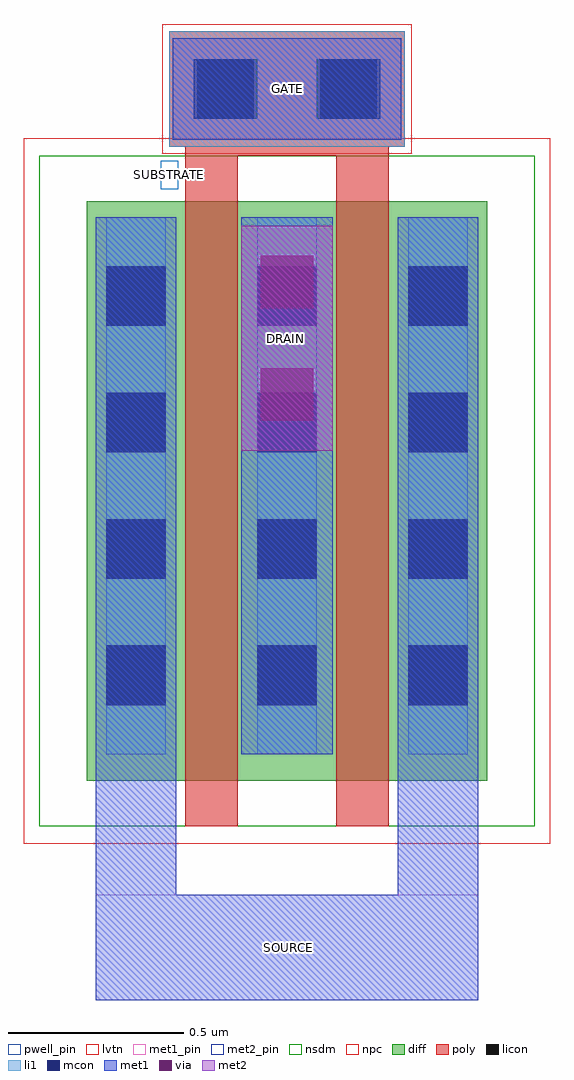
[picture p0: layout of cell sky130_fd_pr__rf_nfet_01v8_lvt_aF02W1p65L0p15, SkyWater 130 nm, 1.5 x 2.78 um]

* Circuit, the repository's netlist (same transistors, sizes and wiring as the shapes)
* Copyright 2020 The SkyWater PDK Authors
*
* Licensed under the Apache License, Version 2.0 (the "License");
* you may not use this file except in compliance with the License.
* You may obtain a copy of the License at
*
*     https://www.apache.org/licenses/LICENSE-2.0
*
* Unless required by applicable law or agreed to in writing, software
* distributed under the License is distributed on an "AS IS" BASIS,
* WITHOUT WARRANTIES OR CONDITIONS OF ANY KIND, either express or implied.
* See the License for the specific language governing permissions and
* limitations under the License.
*
* SPDX-License-Identifier: Apache-2.0


.subckt sky130_fd_pr__rf_nfet_01v8_lvt_aF02W1p65L0p15 DRAIN GATE SOURCE SUBSTRATE
X0 SOURCE GATE DRAIN SUBSTRATE sky130_fd_pr__nfet_01v8_lvt w=1.65e+06u l=150000u
X1 DRAIN GATE SOURCE SUBSTRATE sky130_fd_pr__nfet_01v8_lvt w=1.65e+06u l=150000u
.ends

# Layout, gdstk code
import gdstk
lib = gdstk.Library(unit=1e-6, precision=1e-09)
def R(c, l, rs):  # rectangles x0, y0, x1, y1
    for r in rs: c.add(gdstk.rectangle(r[:2], r[2:], *l))
def A(c, l, x, y, w, h, nx, ny, dx, dy):  # array of equal rectangles
    R(c, l, [(x+i*dx, y+j*dy, x+i*dx+w, y+j*dy+h) for i in range(nx) for j in range(ny)])
diff = (65, 20)
poly = (66, 20)
licon = (66, 44)
li1 = (67, 20)
mcon = (67, 44)
met1_pin = (68, 16)
met1 = (68, 20)
via = (68, 44)
met2_pin = (69, 16)
met2 = (69, 20)
nsdm = (93, 44)
npc = (95, 20)
pwell_pin = (122, 16)
lvtn = (125, 44)

sky130_fd_pr__rf_nfet_01 = lib.new_cell('sky130_fd_pr__rf_nfet_01v8_lvt_aF02W1p65L0p15')
A(sky130_fd_pr__rf_nfet_01, diff, 0.18, 0.18, 0.28, 1.65, 3, 1, 0.43, 0)
R(sky130_fd_pr__rf_nfet_01, diff, [(0.21,0.18,0.46,1.83), (0.46,0.18,0.61,1.83), (0.89,0.18,1.04,1.83), (1.04,0.18,1.32,1.83)])
R(sky130_fd_pr__rf_nfet_01, poly, [(0.46,0.05,0.61,1.96), (0.46,0.05,0.61,0.18), (0.89,0.05,1.04,1.96), (0.89,0.05,1.04,0.18), (0.46,1.83,0.61,1.96), (0.89,1.83,1.04,1.96), (0.46,1.96,1.04,2.315), (0.415,1.985,1.085,2.315)])
A(sky130_fd_pr__rf_nfet_01, licon, 0.235, 0.395, 0.17, 0.17, 3, 4, 0.43, 0.36)
R(sky130_fd_pr__rf_nfet_01, licon, [(0.495,2.065,0.665,2.235), (0.835,2.065,1.005,2.235)])
A(sky130_fd_pr__rf_nfet_01, li1, 0.235, 0.255, 0.17, 1.53, 3, 1, 0.43, 0)
R(sky130_fd_pr__rf_nfet_01, li1, [(0.415,1.985,1.085,2.315), (0.485,2.065,1.015,2.235)])
A(sky130_fd_pr__rf_nfet_01, mcon, 0.235, 0.395, 0.17, 0.17, 3, 4, 0.43, 0.36)
R(sky130_fd_pr__rf_nfet_01, mcon, [(0.485,2.065,0.655,2.235), (0.845,2.065,1.015,2.235)])
R(sky130_fd_pr__rf_nfet_01, met1_pin, [(0.205,-0.445,1.295,-0.145), (0.425,2.005,1.075,2.295)])
R(sky130_fd_pr__rf_nfet_01, met1, [(0.425,2.005,1.075,2.295)])
R(sky130_fd_pr__rf_nfet_01, via, [(0.675,1.205,0.825,1.355), (0.675,1.525,0.825,1.675)])
R(sky130_fd_pr__rf_nfet_01, met2_pin, [(0.62,1.12,0.88,1.76)])
R(sky130_fd_pr__rf_nfet_01, met2, [(0.62,1.12,0.88,1.76)])
R(sky130_fd_pr__rf_nfet_01, nsdm, [(0.045,0.05,0.59,1.96), (0.21,0.05,0.61,1.96), (0.48,0.05,1.02,1.96), (0.64,0.05,1.04,1.96), (0.91,0.05,1.455,1.96)])
R(sky130_fd_pr__rf_nfet_01, npc, [(0.395,1.965,1.105,2.335)])
R(sky130_fd_pr__rf_nfet_01, pwell_pin, [(0.39,1.865,0.44,1.945)])
R(sky130_fd_pr__rf_nfet_01, lvtn, [(0,0,1.5,2.01)])
sky130_fd_pr__rf_nfet_01.add(gdstk.FlexPath([(1.18,1.785),(1.18,-0.445)], 0.23, ends="flush", simple_path=True, layer=68, datatype=20))  # met1
sky130_fd_pr__rf_nfet_01.add(gdstk.FlexPath([(0.75,1.785),(0.75,0.255)], 0.26, ends="flush", simple_path=True, layer=68, datatype=20))  # met1
sky130_fd_pr__rf_nfet_01.add(gdstk.FlexPath([(0.205,-0.295),(1.295,-0.295)], 0.3, ends="flush", simple_path=True, layer=68, datatype=20))  # met1
sky130_fd_pr__rf_nfet_01.add(gdstk.FlexPath([(0.32,1.785),(0.32,-0.445)], 0.23, ends="flush", simple_path=True, layer=68, datatype=20))  # met1
sky130_fd_pr__rf_nfet_01.add(gdstk.Label('DRAIN', (0.745,1.44), layer=69, texttype=16))
sky130_fd_pr__rf_nfet_01.add(gdstk.Label('SOURCE', (0.755,-0.295), layer=68, texttype=16))
sky130_fd_pr__rf_nfet_01.add(gdstk.Label('GATE', (0.75,2.15), layer=68, texttype=16))
sky130_fd_pr__rf_nfet_01.add(gdstk.Label('SUBSTRATE', (0.415,1.905), layer=64, texttype=59))

lib.write_gds('sky130_fd_pr__rf_nfet_01v8_lvt_aF02W1p65L0p15.gds')
